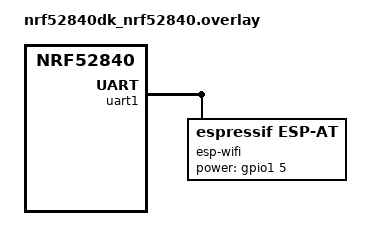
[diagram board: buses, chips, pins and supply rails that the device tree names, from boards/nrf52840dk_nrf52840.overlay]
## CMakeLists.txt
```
# SPDX-License-Identifier: Apache-2.0

cmake_minimum_required(VERSION 3.20.0)

set(SNIPPET golioth-sample)

find_package(Zephyr REQUIRED HINTS $ENV{ZEPHYR_BASE})
project(test)

target_sources(app PRIVATE src/main.c)
```

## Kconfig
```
# Copyright (c) 2022 Golioth, Inc.
# SPDX-License-Identifier: Apache-2.0

mainmenu "Golioth application options"

config GOLIOTH_CONNECTION_TEST_TIMEOUT
	int "Connection timeout in seconds"
	default 10

source "Kconfig.zephyr"
```

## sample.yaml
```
sample:
  description: Sample app that runs automated tests on the target hardware
  name: test
common:
  harness: net
  platform_allow: >
    mimxrt1060_evkb
    nrf52840dk_nrf52840
    nrf9160dk_nrf9160_ns
  tags: golioth socket
tests:
  sample.golioth.test: {}
```

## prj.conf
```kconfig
CONFIG_GOLIOTH_SAMPLES_COMMON=y

# Application
CONFIG_LOG_BACKEND_GOLIOTH=y
CONFIG_LOG_PROCESS_THREAD=y
CONFIG_LOG_MODE_DEFERRED=y

CONFIG_REBOOT=y

CONFIG_FLASH=y
CONFIG_FLASH_MAP=y
CONFIG_NVS=y

CONFIG_GOLIOTH_SAMPLE_HARDCODED_CREDENTIALS=n

CONFIG_SETTINGS=y
CONFIG_SETTINGS_RUNTIME=y
CONFIG_GOLIOTH_SAMPLE_PSK_SETTINGS=y
CONFIG_GOLIOTH_SAMPLE_SETTINGS_AUTOLOAD=y
CONFIG_GOLIOTH_SAMPLE_SETTINGS_SHELL=y

CONFIG_GOLIOTH_SAMPLE_WIFI_SETTINGS=y

CONFIG_SYSTEM_WORKQUEUE_STACK_SIZE=4096

CONFIG_ZTEST=y
CONFIG_ZTEST_NEW_API=y

CONFIG_GOLIOTH_SYSTEM_SERVER_HOST="coap.golioth.dev"
```

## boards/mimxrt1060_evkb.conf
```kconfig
CONFIG_GOLIOTH_SAMPLE_DHCP_START=y
CONFIG_NET_L2_ETHERNET=y
CONFIG_NET_DHCPV4=y
```

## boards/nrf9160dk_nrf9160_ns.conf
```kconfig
# General config
CONFIG_HEAP_MEM_POOL_SIZE=4096
CONFIG_NEWLIB_LIBC=y

# Networking
CONFIG_NET_SOCKETS_OFFLOAD=y
CONFIG_NET_IPV6=y
CONFIG_NET_IPV6_NBR_CACHE=n
CONFIG_NET_IPV6_MLD=n

# Increase native TLS socket implementation, so that it is chosen instead of
# offloaded nRF91 sockets
CONFIG_NET_SOCKETS_TLS_PRIORITY=35

# Modem library
CONFIG_NRF_MODEM_LIB=y
CONFIG_NRF_MODEM_LIB_ON_FAULT_APPLICATION_SPECIFIC=y

# LTE connectivity with network connection manager
CONFIG_LTE_CONNECTIVITY=y
CONFIG_NET_CONNECTION_MANAGER=y
CONFIG_NET_CONNECTION_MANAGER_MONITOR_STACK_SIZE=1024

# Increased sysworkq size, due to LTE connectivity
CONFIG_SYSTEM_WORKQUEUE_STACK_SIZE=2048

# Disable options y-selected by NCS for no good reason
CONFIG_MBEDTLS_KEY_EXCHANGE_DHE_PSK_ENABLED=n
CONFIG_MBEDTLS_KEY_EXCHANGE_DHE_RSA_ENABLED=n

# Extra time for LTE connection
CONFIG_GOLIOTH_CONNECTION_TEST_TIMEOUT=300
```

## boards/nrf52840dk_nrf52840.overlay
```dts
/*
 * Copyright (C) 2021 Golioth, Inc.
 *
 * SPDX-License-Identifier: Apache-2.0
 */

&uart1_default {
	cts-rts {
		psels = <NRF_PSEL(UART_CTS, 1, 3)>,
			<NRF_PSEL(UART_RTS, 1, 4)>;
	};
};

&uart1_sleep {
	cts-rts {
		psels = <NRF_PSEL(UART_CTS, 1, 3)>,
			<NRF_PSEL(UART_RTS, 1, 4)>;
		low-power-enable;
	};
};

&uart1 {
	status = "okay";
	hw-flow-control;

	esp_wifi: esp-wifi {
		compatible = "espressif,esp-at";
		label = "esp-wifi";
		power-gpios = <&gpio1 5 (GPIO_ACTIVE_HIGH | GPIO_OPEN_DRAIN)>;
		status = "okay";
	};
};
```

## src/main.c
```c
/*
 * Copyright (c) 2022 Golioth, Inc.
 *
 * SPDX-License-Identifier: Apache-2.0
 */

#include <zephyr/logging/log.h>
LOG_MODULE_REGISTER(test, LOG_LEVEL_DBG);

#include <zephyr/ztest.h>

#include <net/golioth/system_client.h>
#include <samples/common/net_connect.h>

struct test_golioth_fixture {
};

static struct golioth_client *_client = GOLIOTH_SYSTEM_CLIENT_GET();
static struct test_golioth_fixture _fixture;

K_SEM_DEFINE(_connected_sem, 0, 1);

static void *test_golioth_suite_setup(void)
{
	net_connect();

	return &_fixture;
}

static void golioth_on_connect(struct golioth_client *client)
{
	k_sem_give(&_connected_sem);
}

ZTEST_F(test_golioth, test_connect)
{
	int err;

	_client->on_connect = golioth_on_connect;
	golioth_system_client_start();
	err = k_sem_take(&_connected_sem, K_SECONDS(CONFIG_GOLIOTH_CONNECTION_TEST_TIMEOUT));
	zassert_false(err, "failed to connect");
}

ZTEST_SUITE(test_golioth, NULL, test_golioth_suite_setup, NULL, NULL, NULL);
```
